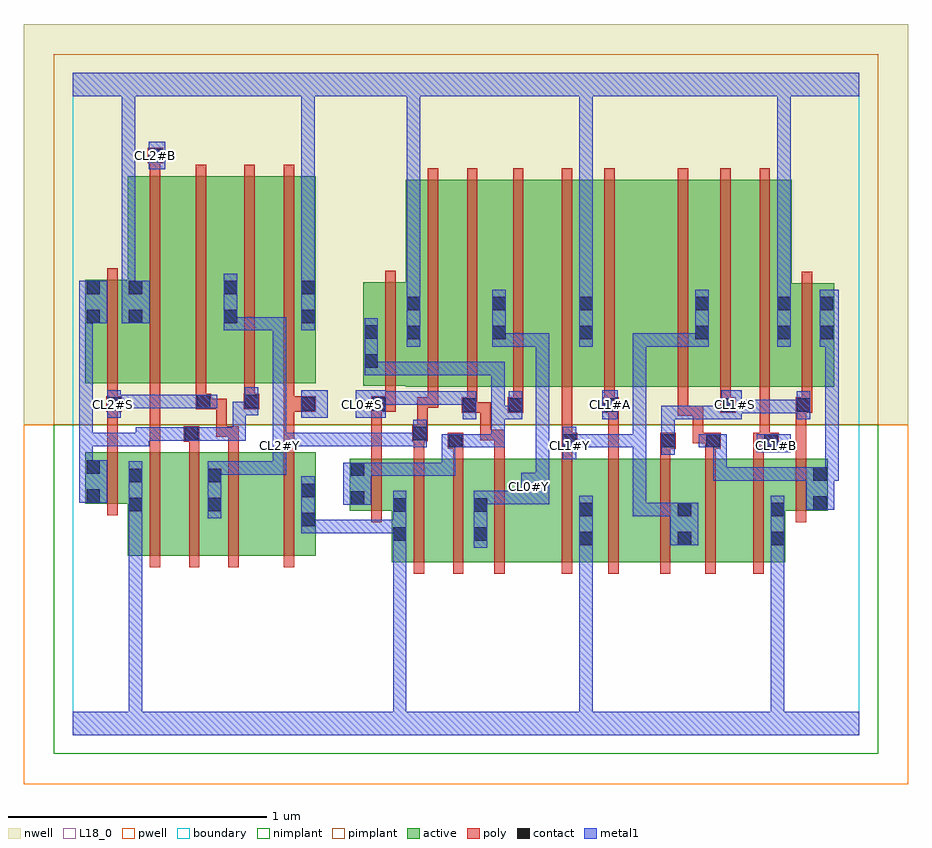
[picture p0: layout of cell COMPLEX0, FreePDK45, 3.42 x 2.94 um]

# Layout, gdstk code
import gdstk
lib = gdstk.Library(unit=1e-6, precision=1e-09)
def R(c, l, rs):  # rectangles x0, y0, x1, y1
    for r in rs: c.add(gdstk.rectangle(r[:2], r[2:], *l))
def A(c, l, x, y, w, h, nx, ny, dx, dy):  # array of equal rectangles
    R(c, l, [(x+i*dx, y+j*dy, x+i*dx+w, y+j*dy+h) for i in range(nx) for j in range(ny)])
active = (1, 0)
pwell = (2, 0)
nwell = (3, 0)
nimplant = (4, 0)
pimplant = (5, 0)
poly = (9, 0)
contact = (10, 0)
metal1 = (11, 0)
L18_0 = (18, 0)
boundary = (235, 0)

complex0 = lib.new_cell('COMPLEX0')
R(complex0, active, [(1.234,0.668,1.414,1.068), (1.234,0.668,1.294,0.92), (1.414,0.668,1.606,1.068), (1.546,0.668,1.782,1.068), (1.782,0.668,2.014,1.068), (1.954,0.668,2.214,1.068), (2.214,0.668,2.394,1.068), (2.334,0.668,2.574,1.068), (2.574,0.668,2.754,1.068), (2.694,0.668,2.754,0.902), (0.214,0.694,0.394,1.094), (0.214,0.694,0.274,1.034), (0.394,0.694,0.578,1.094), (0.518,0.694,0.76,1.094), (0.76,0.694,0.94,1.094), (1.954,0.73,2.014,0.902), (2.334,0.73,2.394,0.902), (1.546,0.748,1.606,0.92), (0.518,0.756,0.578,1.034), (0.88,0.756,0.94,1.094), (1.07,0.868,1.13,1.068), (1.07,0.868,1.294,1.068), (2.694,0.868,2.918,1.068), (2.858,0.868,2.918,1.068), (0.05,0.894,0.11,1.094), (0.05,0.894,0.274,1.094), (1.288,1.346,1.468,2.146), (1.468,1.346,1.678,2.146), (1.618,1.346,1.834,2.146), (1.618,1.346,1.678,2.044), (1.834,1.346,2.014,2.146), (1.954,1.346,2.15,2.146), (2.15,1.346,2.462,2.146), (2.402,1.346,2.598,2.146), (2.598,1.346,2.778,2.146), (2.718,1.346,2.778,1.698), (2.718,1.346,2.942,1.746), (2.882,1.346,2.942,1.698), (1.124,1.35,1.348,1.75), (1.124,1.35,1.184,1.644), (1.288,1.35,1.348,1.698), (0.05,1.36,0.274,1.76), (0.05,1.36,0.11,1.76), (0.214,1.36,0.42,2.16), (0.214,1.36,0.274,2.16), (0.42,1.36,0.64,2.16), (0.58,1.36,0.76,2.16), (0.58,1.36,0.64,2.044), (0.76,1.36,0.94,2.16), (0.88,1.36,0.94,2.044), (1.954,1.526,2.014,2.044), (2.402,1.526,2.462,2.044)])
R(complex0, pwell, [(-0.188,-0.188,3.228,1.2)])
R(complex0, nwell, [(-0.188,1.2,3.228,2.748)])
R(complex0, nimplant, [(-0.072,-0.072,3.112,1.2)])
R(complex0, pimplant, [(-0.072,1.2,3.112,2.632)])
A(complex0, poly, 0.298, 0.65, 0.04, 0.488, 3, 1, 0.152, 0)
R(complex0, poly, [(1.318,0.624,1.358,1.112), (1.47,0.624,1.51,1.112), (1.63,0.624,1.67,1.112), (1.89,0.624,1.93,1.112), (2.07,0.624,2.11,1.112), (2.27,0.624,2.31,1.112), (2.444,0.624,2.484,1.112), (2.63,0.624,2.67,1.112), (0.816,0.65,0.856,1.138), (1.154,0.824,1.194,1.112), (2.794,0.824,2.834,1.112), (0.134,0.85,0.174,1.138), (1.154,1.072,1.194,1.29), (1.318,1.072,1.358,1.176), (1.47,1.072,1.51,1.148), (1.63,1.072,1.67,1.18), (1.89,1.072,1.93,1.148), (2.07,1.072,2.11,1.286), (2.27,1.072,2.31,1.148), (2.444,1.072,2.484,1.148), (2.63,1.072,2.67,1.148), (2.794,1.072,2.834,1.286), (0.134,1.098,0.174,1.29), (0.298,1.098,0.338,1.32), (0.45,1.098,0.49,1.174), (0.602,1.098,0.642,1.194), (0.816,1.098,0.856,1.29), (1.45,1.108,1.51,1.168), (1.89,1.108,1.95,1.168), (2.27,1.108,2.33,1.168), (2.444,1.108,2.504,1.168), (2.63,1.108,2.728,1.168), (1.89,1.128,1.93,1.168), (1.89,1.128,1.93,1.168), (1.89,1.128,1.93,1.342), (2.396,1.128,2.436,1.168), (2.396,1.128,2.484,1.168), (2.396,1.128,2.436,1.274), (2.654,1.128,2.694,1.168), (2.654,1.128,2.694,1.168), (2.654,1.128,2.694,1.342), (0.43,1.134,0.49,1.194), (1.312,1.136,1.372,1.196), (1.576,1.14,1.616,1.18), (1.576,1.14,1.616,1.286), (1.576,1.14,1.67,1.18), (1.63,1.14,1.67,1.18), (0.556,1.154,0.596,1.194), (0.556,1.154,0.596,1.3), (0.556,1.154,0.642,1.194), (0.602,1.154,0.642,1.194), (1.332,1.156,1.372,1.306), (2.338,1.234,2.378,1.274), (2.338,1.234,2.436,1.274), (2.338,1.234,2.378,1.342), (2.396,1.234,2.436,1.274), (1.504,1.246,1.564,1.306), (1.524,1.246,1.616,1.286), (1.576,1.246,1.616,1.286), (1.682,1.246,1.742,1.306), (2.05,1.246,2.11,1.306), (2.07,1.246,2.11,1.286), (2.07,1.246,2.11,1.286), (2.502,1.246,2.562,1.306), (2.794,1.246,2.834,1.286), (2.794,1.246,2.834,1.286), (2.794,1.246,2.858,1.306), (0.13,1.25,0.19,1.31), (0.134,1.25,0.174,1.29), (0.134,1.25,0.174,1.29), (0.816,1.25,0.856,1.29), (0.816,1.25,0.856,1.29), (0.816,1.25,0.94,1.31), (1.154,1.25,1.194,1.29), (1.154,1.25,1.194,1.29), (1.154,1.25,1.248,1.31), (0.476,1.26,0.536,1.32), (0.496,1.26,0.596,1.3), (0.556,1.26,0.596,1.3), (0.662,1.26,0.722,1.32), (1.332,1.266,1.412,1.306), (1.372,1.266,1.412,1.342), (1.524,1.266,1.564,1.342), (1.702,1.266,1.742,1.342), (2.054,1.266,2.094,1.342), (2.502,1.266,2.542,1.342), (2.818,1.266,2.858,1.342), (0.134,1.27,0.174,1.356), (0.816,1.27,0.856,1.356), (1.208,1.27,1.248,1.346), (0.298,1.28,0.338,1.356), (0.298,1.28,0.338,1.32), (0.298,1.28,0.338,1.32), (0.298,1.28,0.338,1.32), (0.476,1.28,0.516,1.356), (0.664,1.28,0.704,1.356), (1.372,1.302,1.412,2.19), (1.524,1.302,1.564,2.19), (1.702,1.302,1.742,2.19), (1.89,1.302,1.93,2.19), (2.054,1.302,2.094,2.19), (2.338,1.302,2.378,2.19), (2.502,1.302,2.542,2.19), (2.654,1.302,2.694,2.19), (2.818,1.302,2.858,1.79), (1.208,1.306,1.248,1.794), (0.134,1.316,0.174,1.804), (0.298,1.316,0.338,2.204), (0.476,1.316,0.516,2.204), (0.664,1.316,0.704,2.204), (0.816,1.316,0.856,2.204), (0.298,2.164,0.338,2.25), (0.29,2.21,0.35,2.27)])
R(complex0, contact, [(1.958,0.734,2.01,0.786), (2.338,0.734,2.39,0.786), (2.698,0.734,2.75,0.786), (1.238,0.752,1.29,0.804), (1.55,0.752,1.602,0.804), (0.884,0.808,0.936,0.86), (1.958,0.846,2.01,0.898), (2.338,0.846,2.39,0.898), (2.698,0.846,2.75,0.898), (1.238,0.864,1.29,0.916), (1.55,0.864,1.602,0.916), (0.218,0.866,0.27,0.918), (0.522,0.866,0.574,0.918), (2.862,0.872,2.914,0.924), (1.074,0.89,1.126,0.942), (0.054,0.898,0.106,0.95), (0.884,0.92,0.936,0.972), (0.218,0.978,0.27,1.03), (0.522,0.978,0.574,1.03), (2.862,0.984,2.914,1.036), (1.074,1.002,1.126,1.054), (0.054,1.01,0.106,1.062), (1.454,1.112,1.506,1.164), (1.894,1.112,1.946,1.164), (2.274,1.112,2.326,1.164), (2.448,1.112,2.5,1.164), (2.672,1.112,2.724,1.164), (0.434,1.138,0.486,1.19), (1.316,1.14,1.368,1.192), (1.508,1.25,1.56,1.302), (1.686,1.25,1.738,1.302), (2.054,1.25,2.106,1.302), (2.506,1.25,2.558,1.302), (2.798,1.25,2.85,1.302), (0.134,1.254,0.186,1.306), (0.884,1.254,0.936,1.306), (1.158,1.254,1.21,1.306), (0.48,1.264,0.532,1.316), (0.666,1.264,0.718,1.316), (1.128,1.42,1.18,1.472), (1.292,1.53,1.344,1.582), (1.622,1.53,1.674,1.582), (1.958,1.53,2.01,1.582), (2.406,1.53,2.458,1.582), (2.722,1.53,2.774,1.582), (2.886,1.53,2.938,1.582), (1.128,1.532,1.18,1.584), (0.054,1.592,0.106,1.644), (0.218,1.592,0.27,1.644), (0.584,1.592,0.636,1.644), (0.884,1.592,0.936,1.644), (1.292,1.642,1.344,1.694), (1.622,1.642,1.674,1.694), (1.958,1.642,2.01,1.694), (2.406,1.642,2.458,1.694), (2.722,1.642,2.774,1.694), (2.886,1.642,2.938,1.694), (0.054,1.704,0.106,1.756), (0.218,1.704,0.27,1.756), (0.584,1.704,0.636,1.756), (0.884,1.704,0.936,1.756), (0.294,2.214,0.346,2.266)])
R(complex0, metal1, [(0,0,3.04,0.092), (0.218,0.04,0.27,0.092), (0.218,0.04,0.27,0.092), (0.218,0.04,0.27,0.89), (1.238,0.04,1.29,0.092), (1.238,0.04,1.29,0.092), (1.238,0.04,1.29,0.092), (1.238,0.04,1.29,0.092), (1.238,0.04,1.29,0.092), (1.238,0.04,1.29,0.092), (1.238,0.04,1.29,0.092), (1.238,0.04,1.29,0.092), (1.238,0.04,1.29,0.776), (1.958,0.04,2.01,0.092), (1.958,0.04,2.01,0.092), (1.958,0.04,2.01,0.092), (1.958,0.04,2.01,0.092), (1.958,0.04,2.01,0.092), (1.958,0.04,2.01,0.092), (1.958,0.04,2.01,0.092), (1.958,0.04,2.01,0.092), (1.958,0.04,2.01,0.092), (1.958,0.04,2.01,0.092), (1.958,0.04,2.01,0.092), (1.958,0.04,2.01,0.092), (1.958,0.04,2.01,0.758), (2.698,0.04,2.75,0.092), (2.698,0.04,2.75,0.092), (2.698,0.04,2.75,0.092), (2.698,0.04,2.75,0.092), (2.698,0.04,2.75,0.092), (2.698,0.04,2.75,0.092), (2.698,0.04,2.75,0.092), (2.698,0.04,2.75,0.092), (2.698,0.04,2.75,0.758), (1.958,0.706,2.01,0.926), (2.698,0.706,2.75,0.758), (2.698,0.706,2.75,0.758), (2.698,0.706,2.75,0.758), (2.698,0.706,2.75,0.758), (2.698,0.706,2.75,0.926), (1.238,0.724,1.29,0.776), (1.238,0.724,1.29,0.776), (1.238,0.724,1.29,0.776), (1.238,0.724,1.29,0.776), (1.238,0.724,1.29,0.944), (1.55,0.724,1.602,0.944), (2.31,0.734,2.418,0.898), (0.884,0.78,0.936,1), (0.884,0.78,1.096,0.832), (1.044,0.78,1.096,0.832), (1.044,0.78,1.096,0.832), (1.044,0.78,1.096,0.832), (1.044,0.78,1.29,0.832), (0.218,0.838,0.27,0.89), (0.218,0.838,0.27,0.89), (0.218,0.838,0.27,0.89), (0.218,0.838,0.27,0.89), (0.218,0.838,0.27,0.89), (0.218,0.838,0.27,0.89), (0.218,0.838,0.27,0.89), (0.218,0.838,0.27,0.89), (0.218,0.838,0.27,0.89), (0.218,0.838,0.27,0.89), (0.218,0.838,0.27,1.058), (0.522,0.838,0.574,1.058), (2.164,0.846,2.216,0.898), (2.164,0.846,2.362,0.898), (2.164,0.846,2.216,1.164), (2.31,0.846,2.362,0.898), (2.31,0.846,2.362,0.898), (2.834,0.872,2.942,1.036), (1.046,0.89,1.154,1.054), (1.55,0.892,1.786,0.944), (1.734,0.892,1.786,0.944), (1.734,0.892,1.786,0.944), (1.734,0.892,1.786,0.944), (1.734,0.892,1.786,0.944), (1.734,0.892,1.842,1.014), (0.026,0.898,0.134,1.062), (1.79,0.962,1.842,1.014), (1.79,0.962,1.842,1.014), (1.79,0.962,1.842,1.554), (2.476,0.984,2.528,1.036), (2.476,0.984,2.696,1.036), (2.476,0.984,2.528,1.164), (2.644,0.984,2.696,1.036), (2.644,0.984,2.696,1.036), (2.644,0.984,2.696,1.036), (2.644,0.984,2.886,1.036), (2.834,0.984,2.886,1.036), (2.834,0.984,2.886,1.036), (2.89,0.984,2.942,1.036), (2.89,0.984,2.96,1.036), (2.908,0.984,2.96,1.554), (2.908,0.984,2.96,1.036), (2.908,0.984,2.96,1.036), (1.102,1.002,1.154,1.054), (1.102,1.002,1.154,1.054), (1.102,1.002,1.32,1.054), (1.268,1.002,1.32,1.054), (1.268,1.002,1.32,1.054), (1.268,1.002,1.32,1.054), (1.268,1.002,1.478,1.054), (1.426,1.002,1.478,1.054), (1.426,1.002,1.478,1.164), (0.522,1.006,0.826,1.058), (0.774,1.006,0.826,1.058), (0.774,1.006,0.826,1.058), (0.774,1.006,0.826,1.058), (0.774,1.006,0.826,1.118), (0.026,1.01,0.078,1.168), (0.774,1.066,0.826,1.174), (1.894,1.066,1.946,1.192), (2.274,1.084,2.326,1.192), (2.644,1.094,2.774,1.164), (1.316,1.112,1.368,1.22), (1.426,1.112,1.478,1.164), (1.426,1.112,1.478,1.164), (1.426,1.112,1.534,1.164), (1.482,1.112,1.67,1.164), (1.618,1.112,1.67,1.164), (1.618,1.112,1.67,1.274), (1.894,1.112,2.106,1.164), (2.054,1.112,2.106,1.164), (2.054,1.112,2.216,1.164), (2.164,1.112,2.216,1.164), (2.164,1.112,2.216,1.164), (2.164,1.112,2.216,1.164), (2.164,1.112,2.216,1.164), (2.164,1.112,2.216,1.164), (2.164,1.112,2.216,1.554), (2.42,1.112,2.528,1.164), (2.476,1.112,2.528,1.164), (2.476,1.112,2.528,1.164), (0.026,1.116,0.078,1.168), (0.026,1.116,0.078,1.168), (0.026,1.116,0.078,1.168), (0.026,1.116,0.078,1.168), (0.026,1.116,0.078,1.168), (0.026,1.116,0.296,1.168), (0.026,1.116,0.078,1.644), (0.244,1.116,0.296,1.168), (0.244,1.116,0.296,1.168), (0.244,1.116,0.296,1.19), (0.774,1.116,0.936,1.168), (0.884,1.116,0.936,1.168), (0.884,1.116,0.936,1.168), (0.884,1.116,0.936,1.168), (0.884,1.116,1.18,1.168), (1.128,1.116,1.18,1.168), (1.128,1.116,1.18,1.168), (1.128,1.116,1.18,1.168), (1.128,1.116,1.368,1.168), (1.316,1.116,1.368,1.168), (1.316,1.116,1.368,1.168), (0.774,1.122,0.826,1.616), (0.244,1.138,0.458,1.19), (0.406,1.138,0.458,1.19), (0.406,1.138,0.458,1.19), (0.406,1.138,0.514,1.19), (0.462,1.138,0.67,1.19), (0.618,1.138,0.67,1.19), (0.618,1.138,0.67,1.288), (2.274,1.14,2.326,1.192), (2.274,1.14,2.326,1.192), (2.274,1.14,2.326,1.274), (1.508,1.222,1.56,1.33), (1.618,1.222,1.67,1.274), (1.618,1.222,1.738,1.274), (1.618,1.222,1.67,1.444), (1.686,1.222,1.738,1.33), (2.046,1.222,2.106,1.334), (2.274,1.222,2.326,1.274), (2.274,1.222,2.558,1.274), (2.506,1.222,2.586,1.334), (2.798,1.222,2.85,1.33), (0.134,1.226,0.186,1.334), (0.884,1.226,0.986,1.334), (1.094,1.226,1.21,1.334), (0.618,1.236,0.67,1.288), (0.618,1.236,0.718,1.288), (0.666,1.236,0.718,1.344), (2.534,1.244,2.586,1.296), (2.534,1.244,2.586,1.296), (2.534,1.244,2.696,1.296), (2.644,1.244,2.696,1.296), (2.644,1.244,2.696,1.296), (2.644,1.244,2.696,1.296), (2.644,1.244,2.85,1.296), (0.134,1.264,0.296,1.316), (0.244,1.264,0.296,1.316), (0.244,1.264,0.296,1.316), (0.244,1.264,0.296,1.316), (0.244,1.264,0.464,1.316), (0.412,1.264,0.464,1.316), (0.412,1.264,0.504,1.316), (0.452,1.264,0.56,1.316), (1.158,1.278,1.32,1.33), (1.268,1.278,1.32,1.33), (1.268,1.278,1.32,1.33), (1.268,1.278,1.32,1.33), (1.268,1.278,1.478,1.33), (1.426,1.278,1.478,1.33), (1.426,1.278,1.56,1.33), (1.128,1.392,1.18,1.444), (1.128,1.392,1.18,1.444), (1.128,1.392,1.18,1.612), (1.128,1.392,1.32,1.444), (1.268,1.392,1.32,1.444), (1.268,1.392,1.32,1.444), (1.268,1.392,1.32,1.444), (1.268,1.392,1.478,1.444), (1.426,1.392,1.478,1.444), (1.426,1.392,1.478,1.444), (1.426,1.392,1.478,1.444), (1.426,1.392,1.67,1.444), (1.618,1.392,1.67,1.444), (1.292,1.502,1.344,1.722), (1.622,1.502,1.674,1.722), (1.622,1.502,1.836,1.554), (1.784,1.502,1.836,1.554), (1.784,1.502,1.836,1.554), (1.784,1.502,1.842,1.554), (1.79,1.502,1.842,1.554), (1.79,1.502,1.842,1.554), (1.958,1.502,2.01,1.722), (2.164,1.502,2.216,1.554), (2.164,1.502,2.326,1.554), (2.274,1.502,2.326,1.554), (2.274,1.502,2.458,1.554), (2.406,1.502,2.458,1.722), (2.722,1.502,2.774,1.722), (2.886,1.502,2.96,1.722), (0.584,1.564,0.826,1.616), (0.584,1.564,0.636,1.784), (0.774,1.564,0.826,1.616), (0.774,1.564,0.826,1.616), (0.774,1.564,0.826,1.616), (0.774,1.564,0.826,1.616), (0.774,1.564,0.826,1.616), (0.884,1.564,0.936,1.784), (0.026,1.592,0.134,1.756), (0.19,1.592,0.298,1.756), (1.292,1.67,1.344,1.722), (1.292,1.67,1.344,1.722), (1.292,1.67,1.344,1.722), (1.292,1.67,1.344,1.722), (1.292,1.67,1.344,2.52), (1.958,1.67,2.01,1.722), (1.958,1.67,2.01,1.722), (1.958,1.67,2.01,1.722), (1.958,1.67,2.01,1.722), (1.958,1.67,2.01,2.52), (2.722,1.67,2.774,1.722), (2.722,1.67,2.774,1.722), (2.722,1.67,2.774,2.52), (0.19,1.704,0.242,1.756), (0.19,1.704,0.242,1.756), (0.19,1.704,0.242,2.52), (0.884,1.732,0.936,2.52), (0.294,2.186,0.358,2.294), (0,2.468,3.04,2.56), (0.19,2.468,0.242,2.52), (0.19,2.468,0.242,2.52), (0.19,2.468,0.242,2.52), (0.19,2.468,0.242,2.52), (0.19,2.468,0.242,2.52), (0.19,2.468,0.242,2.52), (0.884,2.468,0.936,2.52), (0.884,2.468,0.936,2.52), (0.884,2.468,0.936,2.52), (0.884,2.468,0.936,2.52), (0.884,2.468,0.936,2.52), (0.884,2.468,0.936,2.52), (0.884,2.468,0.936,2.52), (0.884,2.468,0.936,2.52), (1.292,2.468,1.344,2.52), (1.292,2.468,1.344,2.52), (1.292,2.468,1.344,2.52), (1.292,2.468,1.344,2.52), (1.958,2.468,2.01,2.52), (1.958,2.468,2.01,2.52), (1.958,2.468,2.01,2.52), (1.958,2.468,2.01,2.52), (2.722,2.468,2.774,2.52), (2.722,2.468,2.774,2.52), (2.722,2.468,2.774,2.52), (2.722,2.468,2.774,2.52), (2.722,2.468,2.774,2.52), (2.722,2.468,2.774,2.52)])
R(complex0, L18_0, [(0,0,3.04,0.092), (0.218,0.04,0.27,0.092), (0.218,0.04,0.27,0.092), (0.218,0.04,0.27,0.89), (1.238,0.04,1.29,0.092), (1.238,0.04,1.29,0.092), (1.238,0.04,1.29,0.092), (1.238,0.04,1.29,0.092), (1.238,0.04,1.29,0.092), (1.238,0.04,1.29,0.092), (1.238,0.04,1.29,0.092), (1.238,0.04,1.29,0.092), (1.238,0.04,1.29,0.776), (1.958,0.04,2.01,0.092), (1.958,0.04,2.01,0.092), (1.958,0.04,2.01,0.092), (1.958,0.04,2.01,0.092), (1.958,0.04,2.01,0.092), (1.958,0.04,2.01,0.092), (1.958,0.04,2.01,0.092), (1.958,0.04,2.01,0.092), (1.958,0.04,2.01,0.092), (1.958,0.04,2.01,0.092), (1.958,0.04,2.01,0.092), (1.958,0.04,2.01,0.092), (1.958,0.04,2.01,0.758), (2.698,0.04,2.75,0.092), (2.698,0.04,2.75,0.092), (2.698,0.04,2.75,0.092), (2.698,0.04,2.75,0.092), (2.698,0.04,2.75,0.092), (2.698,0.04,2.75,0.092), (2.698,0.04,2.75,0.092), (2.698,0.04,2.75,0.092), (2.698,0.04,2.75,0.758), (1.958,0.706,2.01,0.926), (2.698,0.706,2.75,0.758), (2.698,0.706,2.75,0.758), (2.698,0.706,2.75,0.758), (2.698,0.706,2.75,0.758), (2.698,0.706,2.75,0.926), (1.238,0.724,1.29,0.776), (1.238,0.724,1.29,0.776), (1.238,0.724,1.29,0.776), (1.238,0.724,1.29,0.776), (1.238,0.724,1.29,0.944), (1.55,0.724,1.602,0.944), (2.31,0.734,2.418,0.898), (0.884,0.78,0.936,1), (0.884,0.78,1.096,0.832), (1.044,0.78,1.096,0.832), (1.044,0.78,1.096,0.832), (1.044,0.78,1.096,0.832), (1.044,0.78,1.29,0.832), (0.218,0.838,0.27,0.89), (0.218,0.838,0.27,0.89), (0.218,0.838,0.27,0.89), (0.218,0.838,0.27,0.89), (0.218,0.838,0.27,0.89), (0.218,0.838,0.27,0.89), (0.218,0.838,0.27,0.89), (0.218,0.838,0.27,0.89), (0.218,0.838,0.27,0.89), (0.218,0.838,0.27,0.89), (0.218,0.838,0.27,1.058), (0.522,0.838,0.574,1.058), (2.164,0.846,2.216,0.898), (2.164,0.846,2.216,1.164), (2.164,0.846,2.362,0.898), (2.31,0.846,2.362,0.898), (2.31,0.846,2.362,0.898), (1.55,0.892,1.786,0.944), (1.734,0.892,1.786,0.944), (1.734,0.892,1.786,0.944), (1.734,0.892,1.786,0.944), (1.734,0.892,1.786,0.944), (1.734,0.892,1.842,1.014), (1.734,0.934,1.786,0.986), (1.79,0.962,1.842,1.014), (1.79,0.962,1.842,1.014), (1.79,0.962,1.842,1.554), (0.522,1.006,0.826,1.058), (0.774,1.006,0.826,1.058), (0.774,1.006,0.826,1.058), (0.774,1.006,0.826,1.058), (0.774,1.006,0.826,1.118), (0.774,1.066,0.826,1.174), (1.894,1.066,1.946,1.192), (2.274,1.084,2.326,1.192), (0.774,1.094,0.826,1.146), (1.894,1.094,1.946,1.146), (2.644,1.094,2.774,1.164), (2.694,1.094,2.746,1.146), (1.316,1.112,1.368,1.22), (1.894,1.112,2.106,1.164), (2.054,1.112,2.106,1.164), (2.054,1.112,2.216,1.164), (2.164,1.112,2.216,1.164), (2.164,1.112,2.216,1.164), (2.164,1.112,2.216,1.164), (2.164,1.112,2.216,1.164), (2.164,1.112,2.216,1.164), (2.164,1.112,2.216,1.554), (0.774,1.116,0.936,1.168), (0.884,1.116,0.936,1.168), (0.884,1.116,0.936,1.168), (0.884,1.116,0.936,1.168), (0.884,1.116,1.18,1.168), (1.128,1.116,1.18,1.168), (1.128,1.116,1.18,1.168), (1.128,1.116,1.18,1.168), (1.128,1.116,1.368,1.168), (1.316,1.116,1.368,1.168), (1.316,1.116,1.368,1.168), (0.774,1.122,0.826,1.616), (2.274,1.14,2.326,1.192), (2.274,1.14,2.326,1.192), (2.274,1.14,2.326,1.274), (1.508,1.222,1.56,1.33), (2.046,1.222,2.106,1.334), (2.274,1.222,2.326,1.274), (2.274,1.222,2.558,1.274), (2.506,1.222,2.586,1.334), (2.798,1.222,2.85,1.33), (0.134,1.226,0.186,1.334), (0.884,1.226,0.986,1.334), (1.094,1.226,1.21,1.334), (2.534,1.244,2.586,1.296), (2.534,1.244,2.586,1.296), (2.534,1.244,2.696,1.296), (2.644,1.244,2.696,1.296), (2.644,1.244,2.696,1.296), (2.644,1.244,2.696,1.296), (2.644,1.244,2.85,1.296), (0.134,1.254,0.186,1.306), (0.934,1.254,0.986,1.306), (1.094,1.254,1.146,1.306), (2.054,1.254,2.106,1.306), (2.534,1.254,2.586,1.306), (0.134,1.264,0.296,1.316), (0.244,1.264,0.296,1.316), (0.244,1.264,0.296,1.316), (0.244,1.264,0.296,1.316), (0.244,1.264,0.464,1.316), (0.412,1.264,0.464,1.316), (0.412,1.264,0.504,1.316), (0.452,1.264,0.56,1.316), (1.158,1.278,1.32,1.33), (1.268,1.278,1.32,1.33), (1.268,1.278,1.32,1.33), (1.268,1.278,1.32,1.33), (1.268,1.278,1.478,1.33), (1.426,1.278,1.478,1.33), (1.426,1.278,1.56,1.33), (1.292,1.502,1.344,1.722), (1.622,1.502,1.674,1.722), (1.622,1.502,1.836,1.554), (1.784,1.502,1.836,1.554), (1.784,1.502,1.836,1.554), (1.784,1.502,1.842,1.554), (1.79,1.502,1.842,1.554), (1.79,1.502,1.842,1.554), (1.958,1.502,2.01,1.722), (2.164,1.502,2.216,1.554), (2.164,1.502,2.326,1.554), (2.274,1.502,2.326,1.554), (2.274,1.502,2.458,1.554), (2.406,1.502,2.458,1.722), (2.722,1.502,2.774,1.722), (0.584,1.564,0.636,1.784), (0.584,1.564,0.826,1.616), (0.774,1.564,0.826,1.616), (0.774,1.564,0.826,1.616), (0.774,1.564,0.826,1.616), (0.774,1.564,0.826,1.616), (0.774,1.564,0.826,1.616), (0.884,1.564,0.936,1.784), (0.19,1.592,0.298,1.756), (1.292,1.67,1.344,1.722), (1.292,1.67,1.344,1.722), (1.292,1.67,1.344,1.722), (1.292,1.67,1.344,1.722), (1.292,1.67,1.344,2.52), (1.958,1.67,2.01,1.722), (1.958,1.67,2.01,1.722), (1.958,1.67,2.01,1.722), (1.958,1.67,2.01,1.722), (1.958,1.67,2.01,2.52), (2.722,1.67,2.774,1.722), (2.722,1.67,2.774,1.722), (2.722,1.67,2.774,2.52), (0.19,1.704,0.242,1.756), (0.19,1.704,0.242,1.756), (0.19,1.704,0.242,2.52), (0.884,1.732,0.936,2.52), (0.294,2.186,0.358,2.294), (0.294,2.214,0.346,2.266), (0,2.468,3.04,2.56), (0.19,2.468,0.242,2.52), (0.19,2.468,0.242,2.52), (0.19,2.468,0.242,2.52), (0.19,2.468,0.242,2.52), (0.19,2.468,0.242,2.52), (0.19,2.468,0.242,2.52), (0.884,2.468,0.936,2.52), (0.884,2.468,0.936,2.52), (0.884,2.468,0.936,2.52), (0.884,2.468,0.936,2.52), (0.884,2.468,0.936,2.52), (0.884,2.468,0.936,2.52), (0.884,2.468,0.936,2.52), (0.884,2.468,0.936,2.52), (1.292,2.468,1.344,2.52), (1.292,2.468,1.344,2.52), (1.292,2.468,1.344,2.52), (1.292,2.468,1.344,2.52), (1.958,2.468,2.01,2.52), (1.958,2.468,2.01,2.52), (1.958,2.468,2.01,2.52), (1.958,2.468,2.01,2.52), (2.722,2.468,2.774,2.52), (2.722,2.468,2.774,2.52), (2.722,2.468,2.774,2.52), (2.722,2.468,2.774,2.52), (2.722,2.468,2.774,2.52), (2.722,2.468,2.774,2.52)])
R(complex0, boundary, [(0,0,3.04,2.56)])
complex0.add(gdstk.Label('CL0#S', (1.12,1.28), layer=11, texttype=0))
complex0.add(gdstk.Label('CL0#Y', (1.76,0.96), layer=11, texttype=0))
complex0.add(gdstk.Label('CL1#A', (2.08,1.28), layer=11, texttype=0))
complex0.add(gdstk.Label('CL1#B', (2.72,1.12), layer=11, texttype=0))
complex0.add(gdstk.Label('CL1#S', (2.56,1.28), layer=11, texttype=0))
complex0.add(gdstk.Label('CL1#Y', (1.92,1.12), layer=11, texttype=0))
complex0.add(gdstk.Label('CL2#A', (0.96,1.28), layer=11, texttype=0))
complex0.add(gdstk.Label('CL2#B', (0.32,2.24), layer=11, texttype=0))
complex0.add(gdstk.Label('CL2#S', (0.16,1.28), layer=11, texttype=0))
complex0.add(gdstk.Label('CL2#Y', (0.8,1.12), layer=11, texttype=0))

lib.write_gds('COMPLEX0.gds')
